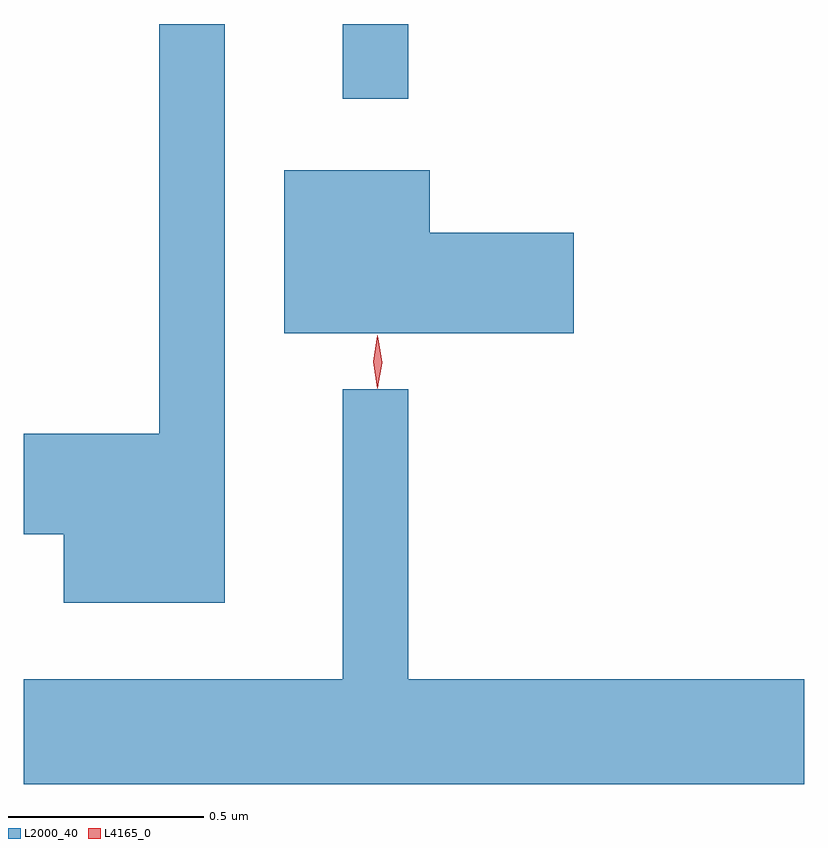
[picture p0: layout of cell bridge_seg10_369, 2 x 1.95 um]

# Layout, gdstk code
import gdstk
lib = gdstk.Library(unit=1e-6, precision=1e-09)
def R(c, l, rs):  # rectangles x0, y0, x1, y1
    for r in rs: c.add(gdstk.rectangle(r[:2], r[2:], *l))
def P(c, l, *ps):  # polygons
    for p in ps: c.add(gdstk.Polygon(p, *l))
L2000_40 = (2000, 40)
L4165_0 = (4165, 0)

bridge_seg10_369 = lib.new_cell('bridge_seg10_369')
R(bridge_seg10_369, L2000_40, [(1072.931,2173.393,1073.099,2173.584)])
P(bridge_seg10_369, L2000_40, [(1072.629,2173.584),(1072.461,2173.584),(1072.461,2172.534),(1072.114,2172.534),(1072.114,2172.276),(1072.216,2172.276),(1072.216,2172.101),(1072.629,2172.101)],
  [(1073.524,2173.049),(1073.154,2173.049),(1073.154,2173.209),(1072.781,2173.209),(1072.781,2172.791),(1073.524,2172.791)],
  [(1074.114,2171.904),(1073.099,2171.904),(1073.099,2172.648),(1072.931,2172.648),(1072.931,2171.904),(1072.114,2171.904),(1072.114,2171.636),(1074.114,2171.636)])
P(bridge_seg10_369, L4165_0, [(1073.02,2172.65),(1073.02,2172.65),(1073.01,2172.718),(1073.02,2172.785),(1073.02,2172.786),(1073.021,2172.785),(1073.03,2172.718),(1073.021,2172.65)],
  [(1073.02,2172.653),(1073.02,2172.653),(1073.012,2172.716),(1073.022,2172.779),(1073.022,2172.78),(1073.023,2172.779),(1073.032,2172.716),(1073.021,2172.653)])

lib.write_gds('bridge_seg10_369.gds')
